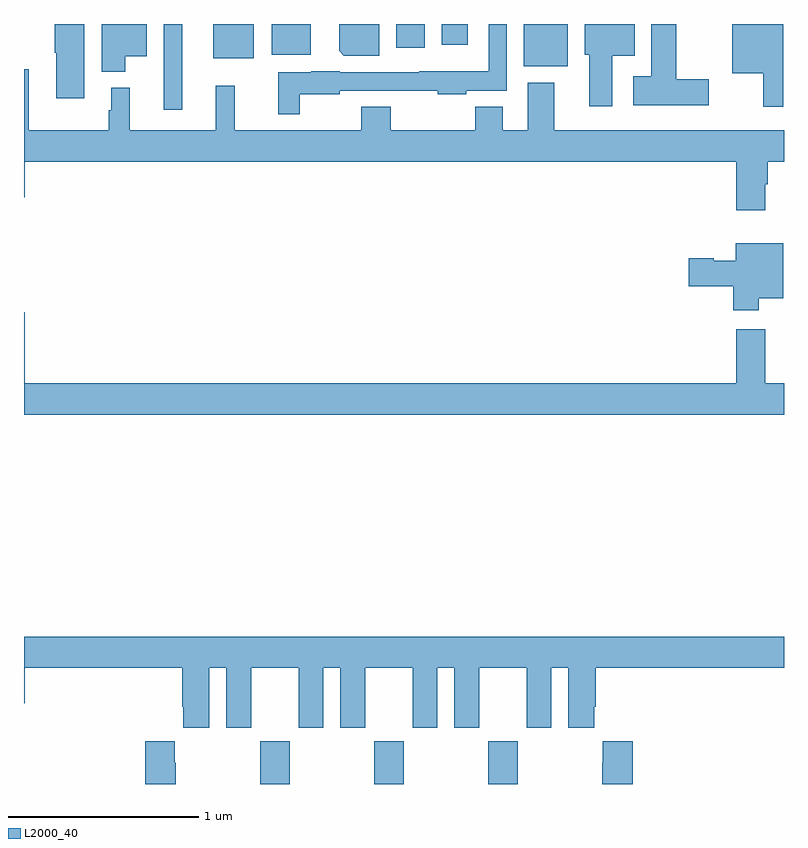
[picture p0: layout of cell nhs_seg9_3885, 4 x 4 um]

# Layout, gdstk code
import gdstk
lib = gdstk.Library(unit=1e-6, precision=1e-09)
def R(c, l, rs):  # rectangles x0, y0, x1, y1
    for r in rs: c.add(gdstk.rectangle(r[:2], r[2:], *l))
def A(c, l, x, y, w, h, nx, ny, dx, dy):  # array of equal rectangles
    R(c, l, [(x+i*dx, y+j*dy, x+i*dx+w, y+j*dy+h) for i in range(nx) for j in range(ny)])
def P(c, l, *ps):  # polygons
    for p in ps: c.add(gdstk.Polygon(p, *l))
L2000_40 = (2000, 40)

nhs_seg9_3885 = lib.new_cell('nhs_seg9_3885')
A(nhs_seg9_3885, L2000_40, 334.243, 1170.5, 0.155, 0.224, 3, 1, 0.6, 0)
R(nhs_seg9_3885, L2000_40, [(333.735,1174.05,333.832,1174.5), (335.63,1174.277,335.863,1174.5), (333.995,1174.319,334.21,1174.5), (334.304,1174.337,334.51,1174.5), (334.958,1174.374,335.11,1174.5), (335.198,1174.392,335.335,1174.5)])
P(nhs_seg9_3885, L2000_40, [(336.997,1174.5),(336.728,1174.5),(336.728,1174.241),(336.891,1174.241),(336.891,1174.065),(336.997,1174.065)],
  [(333.316,1174.5),(333.163,1174.5),(333.163,1174.348),(333.17,1174.348),(333.17,1174.11),(333.316,1174.11)],
  [(336.604,1174.208),(336.432,1174.208),(336.432,1174.5),(336.302,1174.5),(336.302,1174.225),(336.207,1174.225),(336.207,1174.073),(336.604,1174.073)],
  [(334.45,1174.13),(334.662,1174.13),(334.662,1174.149),(335.178,1174.149),(335.178,1174.131),(335.328,1174.131),(335.328,1174.149),(335.541,1174.149),(335.541,1174.5),(335.445,1174.5),(335.445,1174.252),(335.079,1174.252),(335.079,1174.245),(334.662,1174.245),(334.662,1174.252),(334.512,1174.252),(334.512,1174.246),(334.339,1174.246),(334.339,1174.025),(334.45,1174.025)],
  [(333.532,1174.331),(333.646,1174.331),(333.646,1174.5),(333.41,1174.5),(333.41,1174.25),(333.532,1174.25)],
  [(336.097,1174.334),(336.214,1174.334),(336.214,1174.5),(335.951,1174.5),(335.951,1174.338),(335.975,1174.338),(335.975,1174.068),(336.097,1174.068)],
  [(334.87,1174.5),(334.658,1174.5),(334.658,1174.36),(334.684,1174.334),(334.87,1174.334)],
  [(336.901,1173.656),(336.914,1173.656),(336.914,1173.776),(337,1173.776),(337,1173.94),(335.791,1173.94),(335.791,1174.192),(335.651,1174.192),(335.651,1173.94),(335.521,1173.94),(335.521,1174.064),(335.374,1174.064),(335.374,1173.94),(334.929,1173.94),(334.929,1174.064),(334.774,1174.064),(334.774,1173.94),(334.11,1173.94),(334.11,1174.174),(334.01,1174.174),(334.01,1173.94),(333.557,1173.94),(333.557,1174.165),(333.458,1174.165),(333.458,1174.047),(333.447,1174.047),(333.447,1173.94),(333.025,1173.94),(333.025,1174.261),(333,1174.261),(333,1173.588),(333.004,1173.588),(333.004,1173.776),(336.749,1173.776),(336.749,1173.519),(336.901,1173.519)],
  [(336.868,1173.056),(336.997,1173.056),(336.997,1173.346),(336.746,1173.346),(336.746,1173.253),(336.63,1173.253),(336.63,1173.266),(336.498,1173.266),(336.498,1173.119),(336.734,1173.119),(336.734,1172.994),(336.868,1172.994)],
  [(337,1172.608),(336.901,1172.608),(336.901,1172.893),(336.749,1172.893),(336.749,1172.608),(333.004,1172.608),(333.004,1172.983),(333,1172.983),(333,1172.444),(337,1172.444)],
  [(333.976,1171.112),(334.064,1171.112),(334.064,1170.795),(334.195,1170.795),(334.195,1171.112),(334.445,1171.112),(334.445,1170.795),(334.576,1170.795),(334.576,1171.112),(334.664,1171.112),(334.664,1170.795),(334.795,1170.795),(334.795,1171.112),(335.045,1171.112),(335.045,1170.795),(335.176,1170.795),(335.176,1171.112),(335.264,1171.112),(335.264,1170.795),(335.395,1170.795),(335.395,1171.112),(335.645,1171.112),(335.645,1170.795),(335.776,1170.795),(335.776,1171.112),(335.864,1171.112),(335.864,1170.795),(336.001,1170.795),(336.001,1170.907),(336.008,1170.907),(336.008,1171.112),(337,1171.112),(337,1171.276),(333,1171.276),(333,1170.924),(333.004,1170.924),(333.004,1171.112),(333.833,1171.112),(333.833,1170.907),(333.839,1170.907),(333.839,1170.795),(333.976,1170.795)],
  [(336.203,1170.724),(336.047,1170.724),(336.047,1170.611),(336.043,1170.611),(336.043,1170.5),(336.203,1170.5)],
  [(333.798,1170.611),(333.793,1170.611),(333.793,1170.724),(333.638,1170.724),(333.638,1170.5),(333.798,1170.5)])

lib.write_gds('nhs_seg9_3885.gds')
